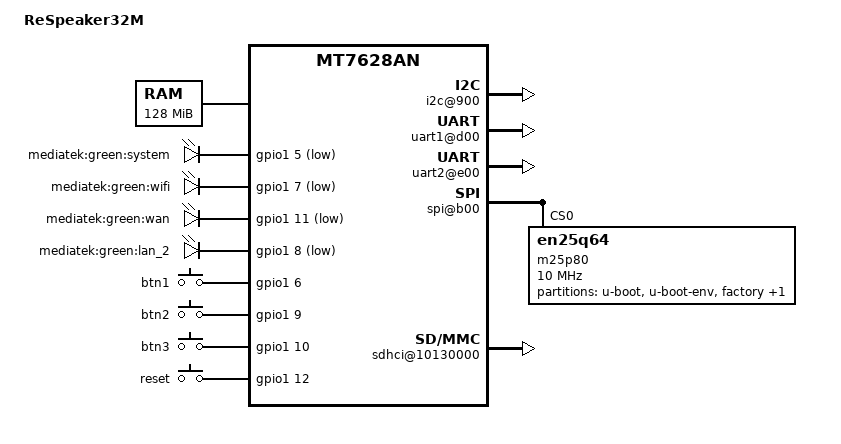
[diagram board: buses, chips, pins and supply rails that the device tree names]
/dts-v1/;

/include/ "mt7628an.dtsi"

/ {
	compatible = "mediatek,ReSpeaker32m", "mediatek,mt7628an-soc";
	model = "ReSpeaker32M";
	
	chosen {
                bootargs = "console=ttyS0,115200";
        };

	memory@0 {
		device_type = "memory";
		//reg = <0x0 0x10000000>; //256MB RAM
		reg = <0x0 0x8000000>;  //128MB RAM
		//reg = <0x0 0x4000000>;//64MB RAM
	};

	pinctrl {
		state_default: pinctrl0 {
			gpio {
				ralink,group = "pwm0","pwm1","refclk","p0_led_an","p1_led_an","p3_led_an","p4_led_an","wled_an","wdt","p2_led_an","gpio" ;
				ralink,function = "gpio";
			};


			spis {
				ralink,group = "spis";
				ralink,function = "pwm_uart2";
			};
			
			i2s {
                                ralink,group = "i2s";
                                ralink,function = "i2s";
                        };

		};

		uart2_pins: uart2 {
			uart2 {
				ralink,group = "uart2";
				ralink,function = "uart2";
			};
		};
		
	};

	palmbus@10000000 {
	        i2c@900 {
                        status = "okay";
			
		//	ssd1306fb@3c{
		//		compatible = "solomon,ssd1306fb-i2c";
		//		reg = <0x3c>;
		//		solomon,width = <128>;
		//		solomon,height = <64>;
		//		reset-gpios = <&gpio1 8 0>;
		//		solomon,page-offset = <0>;
		//		solomon,com-invdir;
//
//			};			


                };

 
	       i2s@a00 {
			status = "okey";

		};

                uart1@d00 {
                        status = "okay";
                };

                uart2@e00 {
                        status = "okay";
                };

//		pwm@5000 {
//                        status = "okay";
//                };
		
		spi@b00 {
			status = "okay";

			m25p80@0 {
				#address-cells = <1>;
				#size-cells = <1>;
				compatible = "en25q64";
				reg = <0 0>;
				linux,modalias = "w25q64", "w25q128","w25q256";
				spi-max-frequency = <10000000>;
				m25p,chunked-io = <32>;

				partition@0 {
					label = "u-boot";
					reg = <0x0 0x30000>;
					read-only;
				};

				partition@30000 {
					label = "u-boot-env";
					reg = <0x30000 0x10000>;
					read-only;
				};

				factory: partition@40000 {
					label = "factory";
					reg = <0x40000 0x10000>;
					read-only;
				};

				partition@50000 {
					label = "firmware";
					//reg = <0x50000 0x7b0000>; 	//8MB flash
					reg = <0x50000 0xfb0000>;	// 16MB flash
					//reg = <0x50000 0x1fb0000>;	//32MB flash
					
				};
			};
		};

	};


	sdhci@10130000 {
                status = "okay";
                mediatek,cd-high;
        };

        ethernet@10100000 {
                mtd-mac-address = <&factory 0x28>;
        };


	gpio-leds {
                compatible = "gpio-leds";
                
		system {
                        label = "mediatek:green:system";
                        gpios = <&gpio1 5 1>;
                        default-state = "off";
                };
		
                wifi {
                        label = "mediatek:green:wifi";
                        gpios = <&gpio1 7 1>;
                        default-state = "off";
                };

                wan {
                        label = "mediatek:green:wan";
                        gpios = <&gpio1 11 1>;
                        default-state = "off";
                };

		
//                lan1 {
//                        label = "mediatek:green:lan_1";
//                        gpios = <&gpio1 10 1>;
//                        default-state = "off";
//                };

                lan2 {
                        label = "mediatek:green:lan_2";
                        gpios = <&gpio1 8 1>;
                        default-state = "off";
                };

        };

	gpio-keys-polled {
                compatible = "gpio-keys-polled";
                #address-cells = <1>;
                #size-cells = <0>;
                poll-interval = <20>;

                btn1 {
                        label = "btn1";
                        gpios = <&gpio1 6 0>;
                        linux,code = <0x101>;
                };

                btn2 {
                        label = "btn2";
                        gpios = <&gpio1 9 0>;
                        linux,code = <0x102>;
                };
		
                btn3 {
                        label = "btn3";
                        gpios = <&gpio1 10 0>;
                        linux,code = <0x103>;
                };

                reset {
                        label = "reset";
                        gpios = <&gpio1 12 0>;
                        linux,code = <0x198>;
                };

        };	

};
